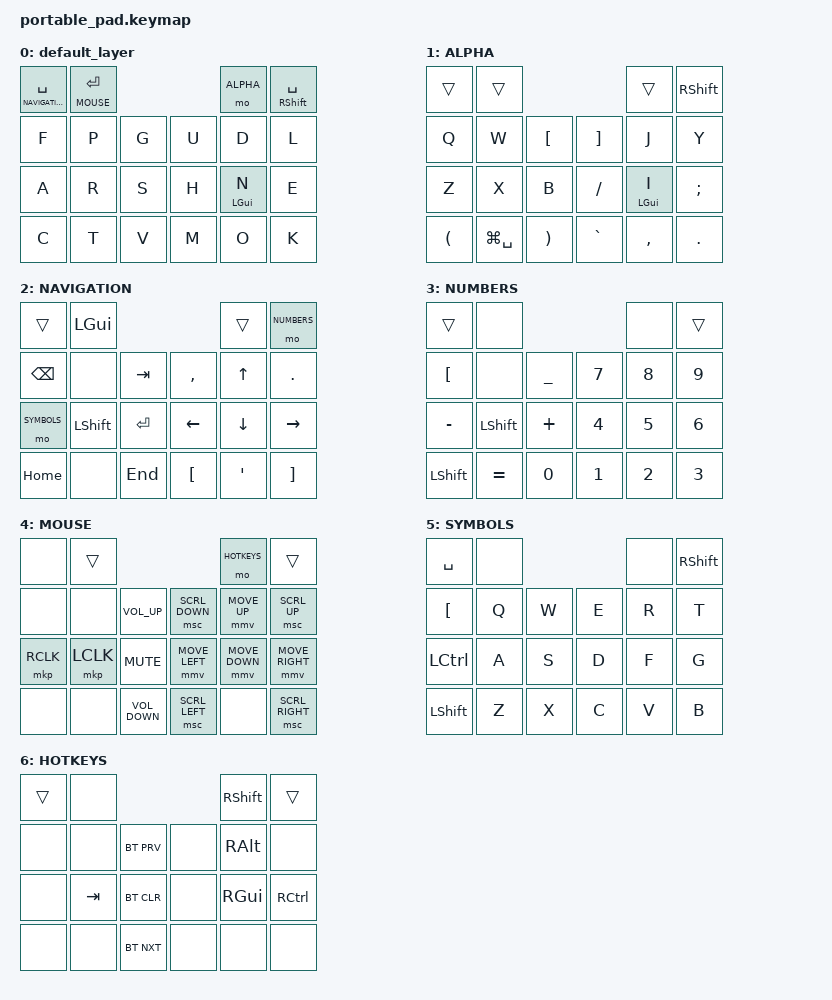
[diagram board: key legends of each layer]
#include <behaviors.dtsi>
#include <dt-bindings/zmk/keys.h>
#include <dt-bindings/zmk/bt.h>
#include <dt-bindings/zmk/mouse.h>
#include "boards/shields/portable_pad/mouse.dtsi"

//  ##########################################################
//  ###########        WORKING 2023/07/1       ###############
//  ##########################################################
// #############         LAYERS         #################

#define SYM_L   1
#define NAV_L   2
#define NAV2_L  3

//#define OTHER_L 4

#define DEFAULT 0
#define ALPHA  1
#define NAVIGATION   2
#define NUMBERS   3
#define MOUSE  4
#define SYMBOLS 5
#define HOTKEYS  6

// Desktop and tab navigation shortcuts		

#define DESKTOP_LT   LC(LG(LEFT))
#define DESKTOP_RT   LC(LG(RIGHT))
#define WINDOW_LT    LA(LS(TAB))
#define WINDOW_RT    LA(TAB)
#define TAB_LT       LC(LS(TAB))
#define TAB_RT       LC(TAB)

// NOT USED  &kp LG(LC(LEFT))  &kp LG(LC(RIGHT))
// Generic bindings

#define KILL_WINDOW  LA(F4)
#define MAXIMIZE     LG(UP)
#define MINIMIZE     LG(DOWN)
#define UN_MINIMIZE  LG(LC(N))

&mt {
    flavor = "hold-preferred";
    tapping-term-ms = <500>;
};

&lt {
    flavor = "balanced";
    tapping-term-ms = <300>;
};

&sl { release-after-ms = <2000>; };

/ {
    conditional_layers { compatible = "zmk,conditional-layers"; };

    macros {
        ZMK_MACRO(inv_qm,

        wait-ms = <10>;
        tap-ms = <10>;
        bindings =
            <&macro_press &kp LALT>,
            <&macro_tap &kp KP_N1 &kp KP_N6 &kp KP_N8>,
            <&macro_release &kp LALT>;

        )
    };

     combos {
                compatible = "zmk,combos";

                // --- ---
                // -X- X--
                // --- ---
                combo_left_bracket {
                     timeout-ms = <50>;
                     key-positions = <11 13>;
                     bindings = <&kp LEFT_PARENTHESIS>;
                };

                // --- ---
                // -X- --X
                // --- ---
                combo_right_bracket {
                     timeout-ms = <50>;
                     key-positions = <11 15>;
                     bindings = <&kp RIGHT_PARENTHESIS>;
                };

                // --- ---
                // --- ---
                // X-- --X
                combo_enter {
                    timeout-ms = <50>;
                    key-positions = <16 21>;
                    bindings = <&kp ENTER>;
                };

                // X-- --X
                // --- ---
                // --- ---
                combo_esc {
                    timeout-ms = <50>;
                    key-positions = <4 9>;
                    bindings = <&kp ESCAPE>;
                };

                // --- ---
                // X-- --X
                // --- ---
                combo_backspace {
                    timeout-ms = <50>;
                    key-positions = <10 15>;
                    bindings = <&kp BACKSPACE>;
                };

                // --- --X
                // --- ---
                // X-- ---
                combo_slash {
                    timeout-ms = <50>;
                    key-positions = <16 9>;
                    bindings = <&kp SLASH>;
                };

                // X-   -X
                // --- ---
                // --- ---
                // X-- --X
                combo_boot {
                    timeout-ms = <50>;
                    key-positions = <0 3 16 21>;
                    bindings = <&bootloader>;
                };

                // -X   X-
                // --- ---
                // --- ---
                // X-- --X
                combo_bt_clr_all {
                    timeout-ms = <50>;
                    key-positions = <1 2 16 21>;
                    bindings = <&bt BT_CLR_ALL>;
                };

            };

    behaviors {
        //   td_mt_ls: tap_dance_mod_tap {
        //       compatible = "zmk,behavior-tap-dance";
        //       label = "TAP_DANCE_LSHIFT";
        //       #binding-cells = <0>;
        //       tapping-term-ms = <200>;
        //       bindings = <&mt LSHIFT CAPSLOCK>, <&kp LCTRL>;
        //   };
        //   td_mt_rs: tap_dance_mod_tap {
        //       compatible = "zmk,behavior-tap-dance";
        //       label = "TAP_DANCE_RSHIFT";
        //       #binding-cells = <0>;
        //       tapping-term-ms = <200>;
        //       bindings = <&mt RSHIFT CAPSLOCK>, <&kp RCTRL>;
        //   };            
    };

    keymap {
        compatible = "zmk,keymap";

        default_layer {
            bindings = <
&lt NAVIGATION SPACE  &lt MOUSE ENTER      &mo ALPHA    &mt RIGHT_SHIFT SPACE
&kp F        &kp P       &kp G      &kp U  &kp D        &kp L
&kp A        &kp R       &kp S      &kp H  &mt LGUI N   &kp E
&kp C        &kp T       &kp V      &kp M  &kp O        &kp K
            >;
        };

        ALPHA {
            bindings = <
&trans                  &trans                                                 &trans     &kp RIGHT_SHIFT
&kp Q                   &kp W           &kp LEFT_BRACKET        &kp RIGHT_BRACKET   &kp J      &kp Y
&kp Z                   &kp X           &kp B                   &kp SLASH           &mt LGUI I &kp SEMICOLON
&kp LEFT_PARENTHESIS    &kp LG(SPACE)   &kp RIGHT_PARENTHESIS   &kp GRAVE           &kp COMMA  &kp DOT
            >;
        };


        NAVIGATION {
            bindings = <
&trans         &kp LGUI                                     &trans          &mo NUMBERS
&kp BACKSPACE  &none           &kp TAB    &kp COMMA         &kp UP_ARROW    &kp PERIOD
&mo SYMBOLS    &kp LEFT_SHIFT  &kp ENTER  &kp LEFT_ARROW    &kp DOWN_ARROW  &kp RIGHT_ARROW
&kp HOME       &none           &kp END    &kp LEFT_BRACKET  &kp SQT         &kp RIGHT_BRACKET
            >;
        };

        NUMBERS {
            bindings = <
&trans     &none                                         &none         &trans
&kp LBKT   &none           &kp UNDERSCORE  &kp NUMBER_7  &kp NUMBER_8  &kp NUMBER_9
&kp MINUS  &kp LEFT_SHIFT  &kp PLUS        &kp NUMBER_4  &kp NUMBER_5  &kp NUMBER_6
&kp LSHFT  &kp EQUAL       &kp N0          &kp NUMBER_1  &kp NUMBER_2  &kp NUMBER_3
            >;
        };

        MOUSE {
            bindings = <
&none      &trans                                                   &mo HOTKEYS         &trans
&none      &none            &kp C_VOLUME_UP         &msc SCRL_DOWN  &mmv MOVE_UP        &msc SCRL_UP
&mkp RCLK  &mkp LCLK        &kp K_MUTE              &mmv MOVE_LEFT  &mmv MOVE_DOWN      &mmv MOVE_RIGHT
&none      &none            &kp C_VOLUME_DOWN       &msc SCRL_LEFT  &none               &msc SCRL_RIGHT
            >;
        };

        SYMBOLS {
            bindings = <
&kp SPACE  &none                &none  &kp RSHFT
&kp LBKT   &kp Q  &kp W  &kp E  &kp R  &kp T
&kp LCTRL  &kp A  &kp S  &kp D  &kp F  &kp G
&kp LSHFT  &kp Z  &kp X  &kp C  &kp V  &kp B
            >;
        };

        HOTKEYS {
            bindings = <
&trans      &none                   &kp RSHFT   &trans
&none       &none       &bt BT_PRV  &none       &kp RIGHT_ALT   &none
&none       &kp TAB     &bt BT_CLR  &none       &kp RGUI        &kp RIGHT_CONTROL
&none       &none       &bt BT_NXT  &none       &none           &none
            >;
        };
    };
};
